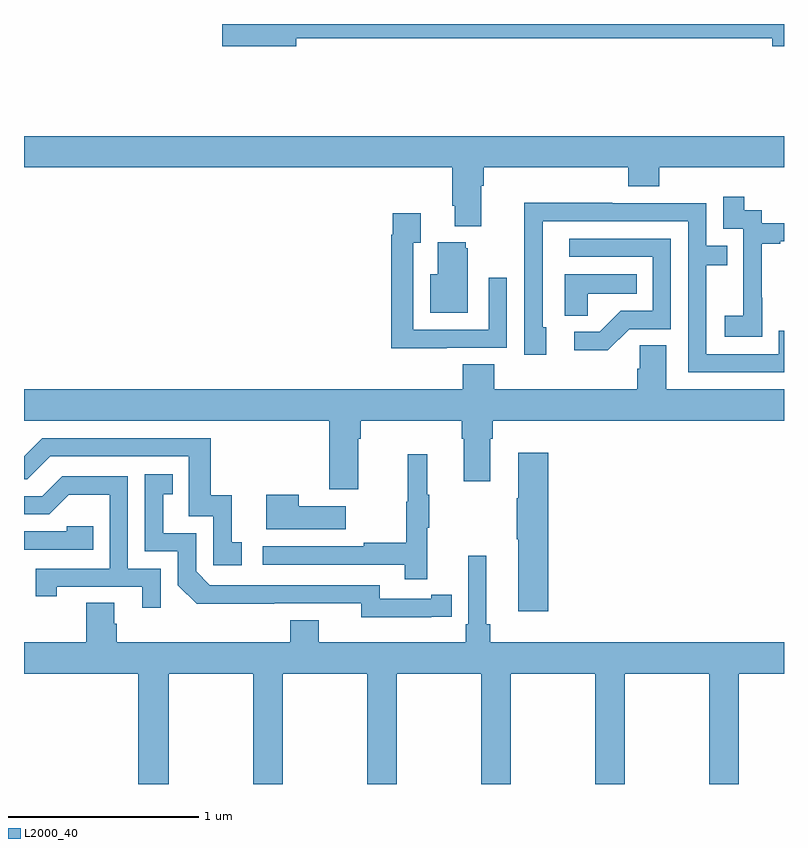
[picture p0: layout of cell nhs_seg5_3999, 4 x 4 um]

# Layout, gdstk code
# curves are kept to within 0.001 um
import gdstk
lib = gdstk.Library(unit=1e-6, precision=1e-09)
def P(c, l, *ps):  # polygons
    for p in ps: c.add(gdstk.Polygon(p, *l))
L2000_40 = (2000, 40)

nhs_seg5_3999 = lib.new_cell('nhs_seg5_3999')
P(nhs_seg5_3999, L2000_40, [(346.432,906.724),(348.938,906.724),(348.938,906.682),(349,906.682),(349,906.799),(346.044,906.799),(346.044,906.682),(346.432,906.682)],
  [(345,906.044),(347.255,906.044),(347.255,905.842),(347.267,905.842),(347.267,905.735),(347.407,905.735),(347.407,905.948),(347.42,905.948),(347.42,906.044),(348.179,906.044),(348.179,905.945),(348.344,905.945),(348.344,906.044),(349,906.044),(349,906.208),(345,906.208)],
  [(348.885,905.359),(348.884,905.359),(348.884,905.643),(348.979,905.643),(348.979,905.655),(349,905.655),(349,905.751),(348.882,905.751),(348.882,905.82),(348.79,905.82),(348.79,905.89),(348.681,905.89),(348.681,905.721),(348.786,905.721),(348.786,905.492),(348.785,905.492),(348.785,905.263),(348.687,905.263),(348.687,905.153),(348.885,905.153)],
  [(349,905.184),(348.972,905.184),(348.972,905.061),(348.591,905.061),(348.591,905.53),(348.701,905.53),(348.701,905.631),(348.591,905.631),(348.591,905.856),(348.095,905.856),(348.095,905.858),(347.632,905.858),(347.632,905.551),(347.634,905.551),(347.634,905.058),(347.749,905.058),(347.749,905.202),(347.73,905.202),(347.73,905.76),(348.495,905.76),(348.495,904.965),(349,904.965)],
  [(347.225,905.094),(347.541,905.094),(347.541,905.464),(347.445,905.464),(347.445,905.19),(347.049,905.19),(347.049,905.647),(347.089,905.647),(347.089,905.803),(346.941,905.803),(346.941,905.69),(346.933,905.69),(346.933,905.093),(347.225,905.093)],
  [(348.186,905.193),(348.405,905.193),(348.405,905.67),(347.871,905.67),(347.871,905.574),(348.309,905.574),(348.309,905.289),(348.14,905.289),(348.029,905.178),(347.895,905.178),(347.895,905.081),(348.073,905.081)],
  [(347.335,905.619),(347.324,905.619),(347.324,905.65),(347.177,905.65),(347.177,905.482),(347.138,905.482),(347.138,905.279),(347.335,905.279)],
  [(347.967,905.378),(348.224,905.378),(348.224,905.482),(347.846,905.482),(347.846,905.263),(347.967,905.263)],
  [(346.759,904.616),(346.772,904.616),(346.772,904.712),(347.303,904.712),(347.303,904.616),(347.315,904.616),(347.315,904.392),(347.455,904.392),(347.455,904.616),(347.468,904.616),(347.468,904.712),(349,904.712),(349,904.876),(348.379,904.876),(348.379,905.108),(348.24,905.108),(348.24,904.985),(348.227,904.985),(348.227,904.876),(347.474,904.876),(347.474,905.009),(347.309,905.009),(347.309,904.876),(345,904.876),(345,904.712),(346.607,904.712),(346.607,904.35),(346.759,904.35)],
  [(346.147,904.071),(346.094,904.071),(346.094,904.318),(345.983,904.318),(345.983,904.62),(345.096,904.62),(345,904.524),(345,904.404),(345.018,904.404),(345.138,904.524),(345.867,904.524),(345.867,904.209),(345.996,904.209),(345.996,903.951),(346.147,903.951)],
  [(347.759,904.543),(347.6,904.543),(347.6,904.304),(347.593,904.304),(347.593,904.087),(347.6,904.087),(347.6,903.708),(347.759,903.708)],
  [(347.123,904.147),(347.134,904.147),(347.134,904.321),(347.123,904.321),(347.123,904.534),(347.02,904.534),(347.02,904.284),(347.013,904.284),(347.013,904.07),(346.789,904.07),(346.789,904.05),(346.257,904.05),(346.257,903.954),(347.005,903.954),(347.005,903.876),(347.123,903.876)],
  [(347.144,903.678),(347.252,903.678),(347.252,903.794),(347.144,903.794),(347.144,903.774),(346.872,903.774),(346.872,903.846),(345.978,903.846),(345.906,903.918),(345.906,904.119),(345.733,904.119),(345.733,904.323),(345.782,904.323),(345.782,904.429),(345.636,904.429),(345.636,904.023),(345.81,904.023),(345.81,903.846),(345.908,903.749),(346.776,903.75),(346.776,903.677)],
  [(345.72,903.933),(345.546,903.933),(345.546,904.419),(345.2,904.419),(345.095,904.314),(345,904.314),(345,904.218),(345.132,904.218),(345.236,904.322),(345.45,904.322),(345.45,903.933),(345.061,903.933),(345.061,903.786),(345.172,903.786),(345.172,903.837),(345.623,903.837),(345.623,903.726),(345.72,903.726)],
  [(346.693,904.261),(346.445,904.261),(346.445,904.321),(346.274,904.321),(346.274,904.139),(346.693,904.139)],
  [(345.365,904.155),(345.225,904.155),(345.225,904.128),(345,904.128),(345,904.032),(345.365,904.032)],
  [(345.762,903.38),(346.207,903.38),(346.207,902.799),(346.362,902.799),(346.362,903.38),(346.807,903.38),(346.807,902.799),(346.962,902.799),(346.962,903.38),(347.407,903.38),(347.407,902.799),(347.562,902.799),(347.562,903.38),(348.007,903.38),(348.007,902.799),(348.162,902.799),(348.162,903.38),(348.607,903.38),(348.607,902.799),(348.762,902.799),(348.762,903.38),(349,903.38),(349,903.544),(347.453,903.544),(347.453,903.64),(347.434,903.64),(347.434,904),(347.337,904),(347.337,903.64),(347.324,903.64),(347.324,903.544),(346.552,903.544),(346.552,903.661),(346.4,903.661),(346.4,903.544),(345.488,903.544),(345.488,903.642),(345.475,903.642),(345.475,903.752),(345.328,903.752),(345.328,903.544),(345,903.544),(345,903.38),(345.602,903.38),(345.602,902.799),(345.762,902.799)])

lib.write_gds('nhs_seg5_3999.gds')
